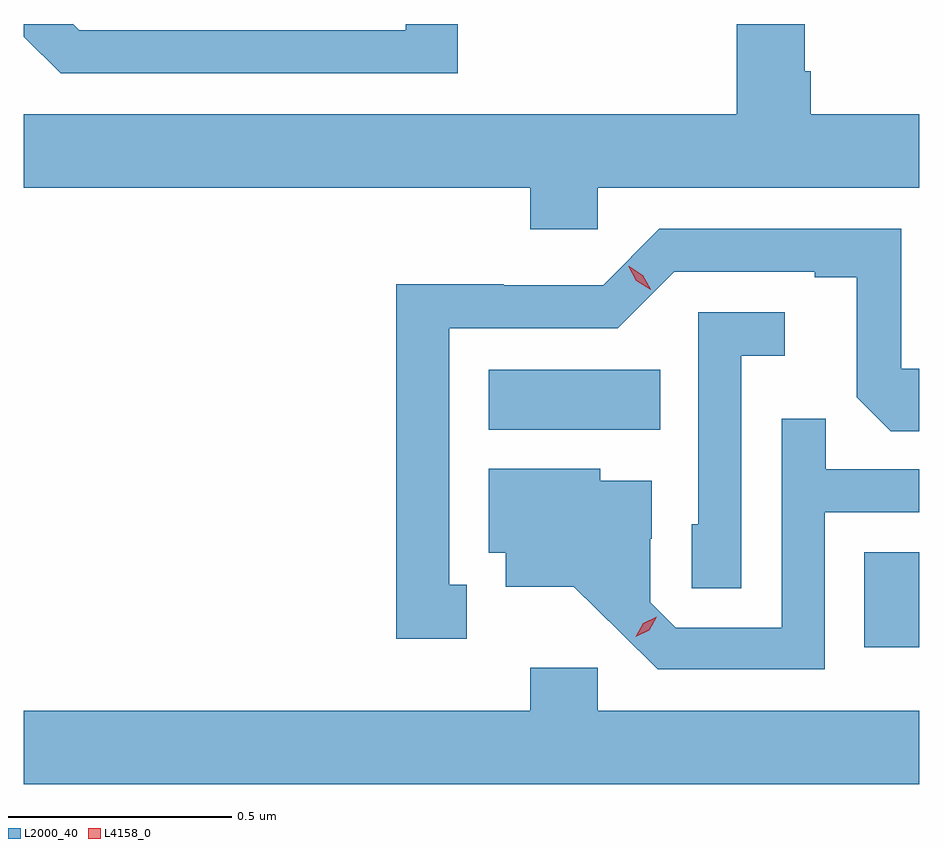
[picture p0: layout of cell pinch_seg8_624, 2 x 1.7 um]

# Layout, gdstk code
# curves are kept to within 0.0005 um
import gdstk
lib = gdstk.Library(unit=1e-6, precision=1e-09)
def R(c, l, rs):  # rectangles x0, y0, x1, y1
    for r in rs: c.add(gdstk.rectangle(r[:2], r[2:], *l))
def P(c, l, *ps):  # polygons
    for p in ps: c.add(gdstk.Polygon(p, *l))
L2000_40 = (2000, 40)
L4158_0 = (4158, 0)

pinch_seg8_624 = lib.new_cell('pinch_seg8_624')
R(pinch_seg8_624, L2000_40, [(146.87,1100.822,146.992,1101.034), (146.03,1101.308,146.414,1101.442)])
P(pinch_seg8_624, L2000_40, [(145.961,1102.214),(145.845,1102.214),(145.845,1102.2),(145.116,1102.2),(145.102,1102.214),(144.992,1102.214),(144.992,1102.186),(145.074,1102.104),(145.961,1102.104)],
  [(146.274,1101.848),(146.992,1101.848),(146.992,1102.012),(146.75,1102.012),(146.75,1102.108),(146.737,1102.108),(146.737,1102.214),(146.585,1102.214),(146.585,1102.012),(144.992,1102.012),(144.992,1101.848),(146.123,1101.848),(146.123,1101.755),(146.274,1101.755)],
  [(145.981,1100.961),(145.942,1100.961),(145.942,1101.534),(146.319,1101.534),(146.445,1101.66),(146.759,1101.66),(146.759,1101.648),(146.853,1101.648),(146.853,1101.38),(146.929,1101.304),(146.992,1101.304),(146.992,1101.444),(146.952,1101.444),(146.952,1101.756),(146.412,1101.756),(146.286,1101.63),(146.064,1101.63),(146.064,1101.632),(145.824,1101.632),(145.824,1100.841),(145.981,1100.841)],
  [(146.595,1101.473),(146.692,1101.473),(146.692,1101.57),(146.499,1101.57),(146.499,1101.096),(146.484,1101.096),(146.484,1100.953),(146.595,1100.953)],
  [(146.781,1101.123),(146.992,1101.123),(146.992,1101.219),(146.783,1101.219),(146.783,1101.332),(146.685,1101.332),(146.685,1100.865),(146.448,1100.865),(146.391,1100.922),(146.391,1101.064),(146.395,1101.064),(146.395,1101.193),(146.28,1101.193),(146.28,1101.22),(146.03,1101.22),(146.03,1101.033),(146.069,1101.033),(146.069,1100.957),(146.221,1100.957),(146.408,1100.772),(146.781,1100.772)],
  [(146.992,1100.68),(146.274,1100.68),(146.274,1100.776),(146.123,1100.776),(146.123,1100.68),(144.992,1100.68),(144.992,1100.516),(146.992,1100.516)])
P(pinch_seg8_624, L4158_0, [(146.359,1100.845),(146.359,1100.845),(146.376,1100.875),(146.406,1100.89),(146.406,1100.89),(146.406,1100.89),(146.389,1100.86),(146.359,1100.845)],
  [(146.392,1101.62),(146.36,1101.64),(146.343,1101.672),(146.343,1101.673),(146.344,1101.673),(146.375,1101.653),(146.392,1101.621),(146.392,1101.62)])

lib.write_gds('pinch_seg8_624.gds')
